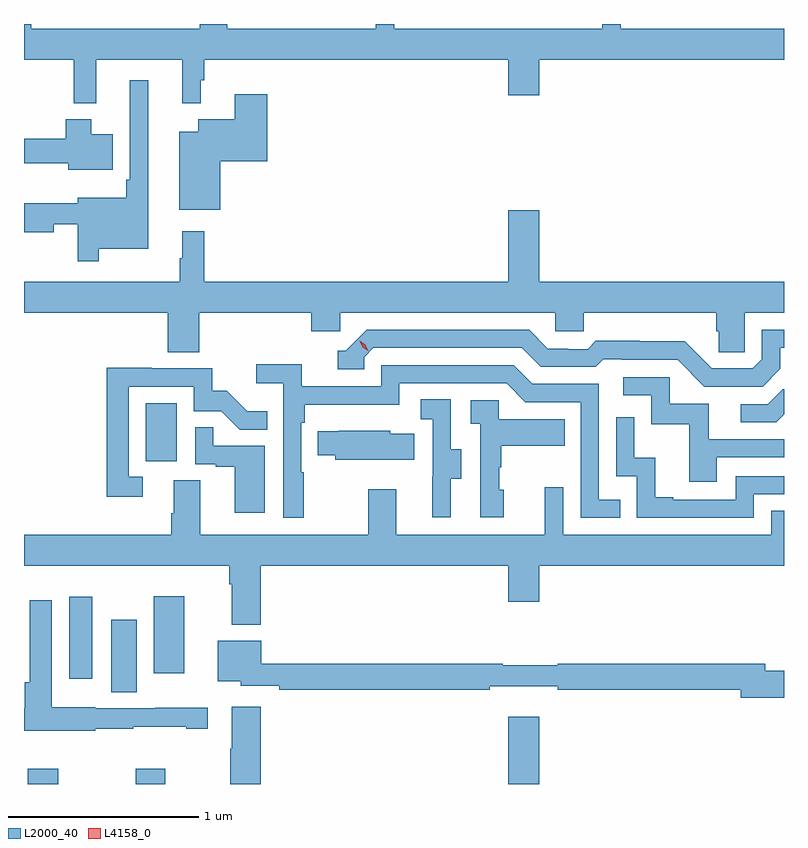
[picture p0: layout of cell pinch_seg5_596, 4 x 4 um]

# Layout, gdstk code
import gdstk
lib = gdstk.Library(unit=1e-6, precision=1e-09)
def R(c, l, rs):  # rectangles x0, y0, x1, y1
    for r in rs: c.add(gdstk.rectangle(r[:2], r[2:], *l))
def P(c, l, *ps):  # polygons
    for p in ps: c.add(gdstk.Polygon(p, *l))
L2000_40 = (2000, 40)
L4158_0 = (4158, 0)

pinch_seg5_596 = lib.new_cell('pinch_seg5_596')
R(pinch_seg5_596, L2000_40, [(1097.543,852.948,1097.703,853.027), (1098.112,852.948,1098.267,853.027), (1100.072,852.948,1100.236,853.303), (1097.984,853.432,1098.118,853.813), (1097.762,853.503,1097.884,853.933), (1098.206,853.53,1098.367,853.936), (1098.164,854.646,1098.328,854.953)])
P(pinch_seg5_596, L2000_40, [(1097.903,856.76),(1098.356,856.76),(1098.356,856.532),(1098.454,856.532),(1098.454,856.652),(1098.473,856.652),(1098.473,856.76),(1100.072,856.76),(1100.072,856.572),(1100.236,856.572),(1100.236,856.76),(1101.524,856.76),(1101.524,856.924),(1100.664,856.924),(1100.664,856.948),(1100.568,856.948),(1100.568,856.924),(1099.473,856.924),(1099.473,856.948),(1099.376,856.948),(1099.376,856.924),(1098.595,856.924),(1098.595,856.948),(1098.448,856.948),(1098.448,856.924),(1097.563,856.924),(1097.563,856.948),(1097.524,856.948),(1097.524,856.76),(1097.785,856.76),(1097.785,856.532),(1097.903,856.532)],
  [(1097.917,855.764),(1098.178,855.764),(1098.178,856.651),(1098.081,856.651),(1098.081,856.129),(1098.061,856.129),(1098.061,856.033),(1097.807,856.033),(1097.807,856.004),(1097.524,856.004),(1097.524,855.851),(1097.68,855.851),(1097.68,855.894),(1097.808,855.894),(1097.808,855.699),(1097.917,855.699)],
  [(1098.556,856.226),(1098.803,856.226),(1098.803,856.579),(1098.632,856.579),(1098.632,856.447),(1098.44,856.447),(1098.44,856.381),(1098.341,856.381),(1098.341,855.971),(1098.556,855.971)],
  [(1097.992,856.369),(1097.878,856.369),(1097.878,856.447),(1097.744,856.447),(1097.744,856.344),(1097.524,856.344),(1097.524,856.214),(1097.756,856.214),(1097.756,856.181),(1097.992,856.181)],
  [(1098.446,855.428),(1099.037,855.428),(1099.037,855.33),(1099.188,855.33),(1099.188,855.428),(1100.319,855.428),(1100.319,855.33),(1100.469,855.33),(1100.469,855.428),(1101.167,855.428),(1101.167,855.33),(1101.181,855.33),(1101.181,855.22),(1101.318,855.22),(1101.318,855.428),(1101.524,855.428),(1101.524,855.592),(1100.236,855.592),(1100.236,855.967),(1100.072,855.967),(1100.072,855.592),(1098.473,855.592),(1098.473,855.856),(1098.356,855.856),(1098.356,855.716),(1098.345,855.716),(1098.345,855.592),(1097.524,855.592),(1097.524,855.428),(1098.281,855.428),(1098.281,855.22),(1098.446,855.22)],
  [(1101.505,855.133),(1101.505,855.243),(1101.524,855.243),(1101.524,855.339),(1101.408,855.339),(1101.408,855.183),(1101.36,855.135),(1101.144,855.135),(1101.002,855.277),(1100.766,855.277),(1100.766,855.28),(1100.533,855.28),(1100.491,855.237),(1100.388,855.237),(1100.388,855.24),(1100.281,855.24),(1100.182,855.339),(1099.329,855.339),(1099.218,855.228),(1099.175,855.228),(1099.175,855.132),(1099.314,855.132),(1099.314,855.195),(1099.362,855.243),(1100.145,855.243),(1100.244,855.144),(1100.533,855.144),(1100.572,855.183),(1100.671,855.183),(1100.671,855.18),(1100.964,855.18),(1101.105,855.039),(1101.411,855.039)],
  [(1098.997,854.588),(1098.984,854.588),(1098.984,854.849),(1099.001,854.849),(1099.001,854.945),(1099.5,854.945),(1099.5,855.057),(1100.064,855.057),(1100.163,854.958),(1100.454,854.958),(1100.454,854.349),(1100.663,854.349),(1100.663,854.445),(1100.55,854.445),(1100.55,855.054),(1100.2,855.054),(1100.101,855.153),(1099.404,855.153),(1099.404,855.042),(1098.986,855.042),(1098.986,855.158),(1098.747,855.158),(1098.747,855.056),(1098.888,855.056),(1098.888,854.349),(1098.997,854.349)],
  [(1098.148,854.565),(1098.075,854.565),(1098.075,855.039),(1098.417,855.039),(1098.417,854.91),(1098.561,854.91),(1098.659,854.812),(1098.803,854.812),(1098.803,854.911),(1098.699,854.911),(1098.592,855.018),(1098.516,855.018),(1098.516,855.135),(1098.197,855.135),(1098.197,855.14),(1097.959,855.14),(1097.959,854.46),(1098.148,854.46)],
  [(1101.169,854.667),(1101.524,854.667),(1101.524,854.763),(1101.127,854.763),(1101.127,854.949),(1100.922,854.949),(1100.922,855.09),(1100.679,855.09),(1100.679,854.994),(1100.826,854.994),(1100.826,854.841),(1101.025,854.841),(1101.025,854.538),(1101.169,854.538)],
  [(1101.524,854.893),(1101.524,855.026),(1101.518,855.026),(1101.438,854.946),(1101.297,854.946),(1101.297,854.853),(1101.484,854.853)],
  [(1099.771,854.554),(1099.825,854.554),(1099.825,854.709),(1099.77,854.709),(1099.77,854.972),(1099.611,854.972),(1099.611,854.869),(1099.674,854.869),(1099.674,854.565),(1099.673,854.565),(1099.673,854.352),(1099.771,854.352)],
  [(1100.05,854.496),(1100.025,854.496),(1100.025,854.615),(1100.035,854.615),(1100.035,854.729),(1100.369,854.729),(1100.369,854.869),(1100.022,854.869),(1100.022,854.967),(1099.875,854.967),(1099.875,854.843),(1099.926,854.843),(1099.926,854.352),(1100.05,854.352)],
  [(1101.366,854.472),(1101.524,854.472),(1101.524,854.568),(1101.27,854.568),(1101.27,854.445),(1100.941,854.445),(1100.941,854.458),(1100.846,854.458),(1100.846,854.666),(1100.736,854.666),(1100.736,854.878),(1100.64,854.878),(1100.64,854.568),(1100.748,854.568),(1100.748,854.349),(1101.366,854.349)],
  [(1098.79,854.727),(1098.521,854.727),(1098.521,854.825),(1098.426,854.825),(1098.426,854.631),(1098.533,854.631),(1098.533,854.619),(1098.632,854.619),(1098.632,854.376),(1098.79,854.376)],
  [(1099.577,854.791),(1099.452,854.791),(1099.452,854.806),(1099.18,854.806),(1099.18,854.805),(1099.069,854.805),(1099.069,854.677),(1099.163,854.677),(1099.163,854.654),(1099.577,854.654)],
  [(1098.77,854.096),(1100.072,854.096),(1100.072,853.908),(1100.236,853.908),(1100.236,854.096),(1101.524,854.096),(1101.524,854.387),(1101.456,854.387),(1101.456,854.26),(1100.361,854.26),(1100.361,854.509),(1100.264,854.509),(1100.264,854.26),(1099.483,854.26),(1099.483,854.5),(1099.336,854.5),(1099.336,854.26),(1098.451,854.26),(1098.451,854.546),(1098.311,854.546),(1098.311,854.372),(1098.299,854.372),(1098.299,854.26),(1097.524,854.26),(1097.524,854.096),(1098.605,854.096),(1098.605,854),(1098.617,854),(1098.617,853.787),(1098.77,853.787)],
  [(1097.898,853.239),(1098.098,853.239),(1098.098,853.249),(1098.377,853.249),(1098.377,853.239),(1098.49,853.239),(1098.49,853.349),(1098.214,853.349),(1098.214,853.347),(1097.898,853.347),(1097.898,853.351),(1097.67,853.351),(1097.67,853.915),(1097.554,853.915),(1097.554,853.483),(1097.528,853.483),(1097.528,853.347),(1097.524,853.347),(1097.524,853.229),(1097.898,853.229)],
  [(1101.524,853.544),(1101.424,853.544),(1101.424,853.58),(1100.332,853.58),(1100.332,853.573),(1100.043,853.573),(1100.043,853.58),(1098.772,853.58),(1098.772,853.702),(1098.545,853.702),(1098.545,853.49),(1098.666,853.49),(1098.666,853.464),(1098.868,853.464),(1098.868,853.444),(1099.976,853.444),(1099.976,853.463),(1100.332,853.463),(1100.332,853.444),(1101.296,853.444),(1101.296,853.402),(1101.524,853.402)],
  [(1098.77,853.354),(1098.617,853.354),(1098.617,853.133),(1098.61,853.133),(1098.61,852.948),(1098.77,852.948)])
P(pinch_seg5_596, L4158_0, [(1099.336,855.228),(1099.306,855.248),(1099.29,855.28),(1099.29,855.281),(1099.291,855.281),(1099.321,855.261),(1099.337,855.228),(1099.337,855.228)])

lib.write_gds('pinch_seg5_596.gds')
